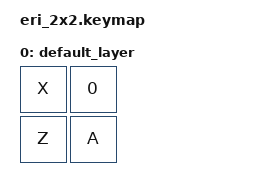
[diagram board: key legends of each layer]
#include <behaviors.dtsi>
#include <dt-bindings/zmk/keys.h>


/ {
    keymap {
        compatible = "zmk,keymap";

        default_layer {
            bindings = <
                &kp X &kp N0
                &kp Z &kp A
            >;
        };
    };
};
